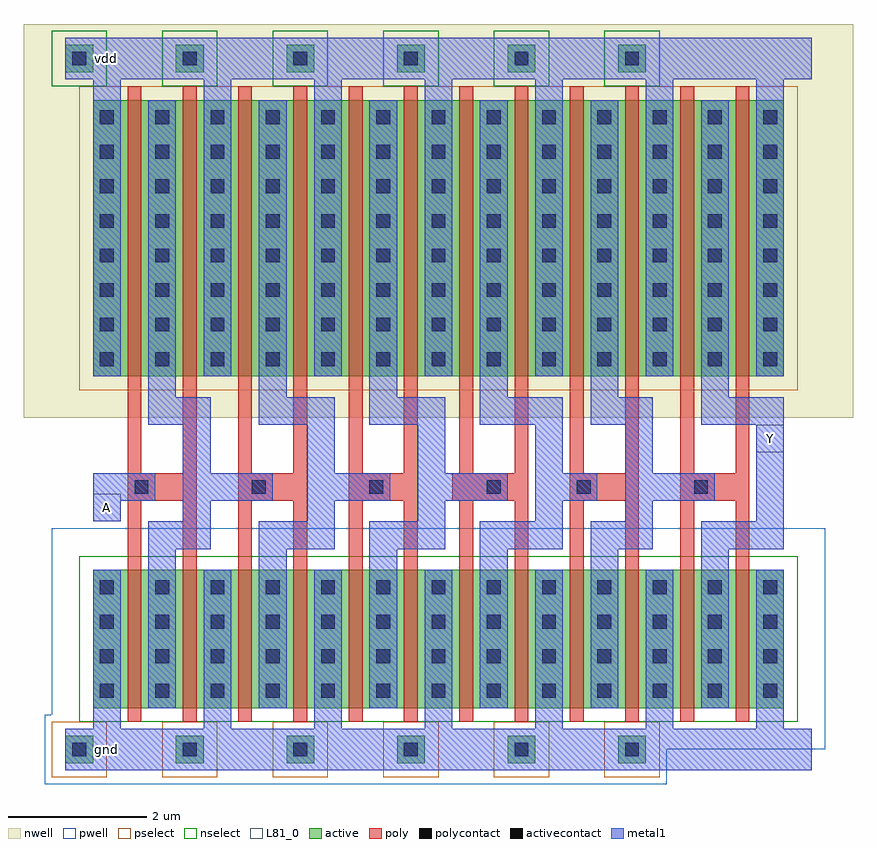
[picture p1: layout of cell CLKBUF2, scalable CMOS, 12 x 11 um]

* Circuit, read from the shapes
.subckt CLKBUF2 A Y gnd vdd
M1 n1 A gnd gnd nfet w=2u l=0.2u m=2
M2 n2 n1 gnd gnd nfet w=2u l=0.2u m=2
M3 n3 n2 gnd gnd nfet w=2u l=0.2u m=2
M4 n4 n3 gnd gnd nfet w=2u l=0.2u m=2
M5 n5 n4 gnd gnd nfet w=2u l=0.2u m=2
M6 Y n5 gnd gnd nfet w=2u l=0.2u m=2
M7 n1 A vdd vdd pfet w=4u l=0.2u m=2
M8 n2 n1 vdd vdd pfet w=4u l=0.2u m=2
M9 n3 n2 vdd vdd pfet w=4u l=0.2u m=2
M10 n4 n3 vdd vdd pfet w=4u l=0.2u m=2
M11 n5 n4 vdd vdd pfet w=4u l=0.2u m=2
M12 Y n5 vdd vdd pfet w=4u l=0.2u m=2
.ends

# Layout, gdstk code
import gdstk
lib = gdstk.Library(unit=1e-6, precision=1e-09)
def R(c, l, rs):  # rectangles x0, y0, x1, y1
    for r in rs: c.add(gdstk.rectangle(r[:2], r[2:], *l))
def A(c, l, x, y, w, h, nx, ny, dx, dy):  # array of equal rectangles
    R(c, l, [(x+i*dx, y+j*dy, x+i*dx+w, y+j*dy+h) for i in range(nx) for j in range(ny)])
pwell = (41, 0)
nwell = (42, 0)
active = (43, 0)
pselect = (44, 0)
nselect = (45, 0)
poly = (46, 0)
polycontact = (47, 0)
activecontact = (48, 0)
metal1 = (49, 0)
L81_0 = (81, 0)

clkbuf2 = lib.new_cell('CLKBUF2')
R(clkbuf2, pwell, [(-0.5,-0.5,8.5,0), (-0.5,0,10.8,0.5), (-0.4,0.5,10.8,3.2)])
R(clkbuf2, nwell, [(-0.8,4.8,11.2,10.5)])
A(clkbuf2, active, -0.2, -0.2, 0.4, 0.4, 6, 2, 1.6, 10)
R(clkbuf2, active, [(0.2,0.6,10.2,2.6), (0.2,5.4,10.2,9.4)])
A(clkbuf2, pselect, -0.4, -0.4, 0.8, 0.8, 6, 1, 1.6, 0)
R(clkbuf2, pselect, [(0,5.2,10.4,9.6)])
A(clkbuf2, nselect, -0.4, 9.6, 0.8, 0.8, 6, 1, 1.6, 0)
R(clkbuf2, nselect, [(0,0.4,10.4,2.8)])
A(clkbuf2, poly, 0.7, 0.4, 0.2, 3.2, 12, 1, 0.8, 0)
A(clkbuf2, poly, 0.7, 3.6, 1, 0.4, 3, 1, 1.6, 0)
A(clkbuf2, poly, 0.7, 4, 0.2, 5.6, 12, 1, 0.8, 0)
R(clkbuf2, poly, [(5.4,3.6,6.5,4), (7.1,3.6,8.1,4), (8.7,3.6,9.7,4)])
A(clkbuf2, polycontact, 0.8, 3.7, 0.2, 0.2, 4, 1, 1.7, 0)
R(clkbuf2, polycontact, [(7.2,3.7,7.4,3.9), (8.9,3.7,9.1,3.9)])
A(clkbuf2, activecontact, -0.1, -0.1, 0.2, 0.2, 6, 2, 1.6, 10)
A(clkbuf2, activecontact, 0.3, 0.75, 0.2, 0.2, 13, 4, 0.8, 0.5)
A(clkbuf2, activecontact, 0.3, 5.55, 0.2, 0.2, 13, 8, 0.8, 0.5)
A(clkbuf2, metal1, 0.2, 0.3, 0.4, 2.3, 7, 1, 1.6, 0)
A(clkbuf2, metal1, 1, 0.6, 0.4, 2.3, 6, 1, 1.6, 0)
A(clkbuf2, metal1, 1, 5.1, 0.4, 4.3, 6, 1, 1.6, 0)
A(clkbuf2, metal1, 0.2, 5.4, 0.4, 4.3, 7, 1, 1.6, 0)
R(clkbuf2, metal1, [(-0.2,-0.3,10.6,0.3), (1,2.9,1.9,3.3), (2.6,2.9,3.7,3.3), (4.2,2.9,5.3,3.3), (5.8,2.9,7,3.3), (7.4,2.9,8.3,3.3), (9,2.9,10.2,3.3), (0.2,3.3,0.6,3.6), (1.5,3.3,1.9,3.6), (3.3,3.3,3.7,3.6), (4.9,3.3,5.3,3.6), (6.6,3.3,7,3.6), (7.9,3.3,8.3,3.6), (9.8,3.3,10.2,4.7), (0.2,3.6,1.1,4), (1.5,3.6,2.8,4), (3.3,3.6,4.5,4), (4.9,3.6,6.2,4), (6.6,3.6,7.5,4), (7.9,3.6,9.2,4), (1.5,4,1.9,4.7), (3.3,4,3.7,4.7), (4.9,4,5.3,4.7), (6.6,4,7,4.7), (7.9,4,8.3,4.7), (1,4.7,1.9,5.1), (2.6,4.7,3.7,5.1), (4.2,4.7,5.3,5.1), (5.8,4.7,7,5.1), (7.4,4.7,8.3,5.1), (9,4.7,10.2,5.1), (-0.2,9.7,10.6,10.3)])
R(clkbuf2, L81_0, [(0.2,3.3,0.6,3.7), (9.8,4.3,10.2,4.7)])
clkbuf2.add(gdstk.Label('vdd', (0.4,10), layer=49, texttype=0))
clkbuf2.add(gdstk.Label('gnd', (0.4,0), layer=49, texttype=0))
clkbuf2.add(gdstk.Label('A', (0.4,3.5), layer=49, texttype=0))
clkbuf2.add(gdstk.Label('Y', (10,4.5), layer=49, texttype=0))

lib.write_gds('CLKBUF2.gds')
